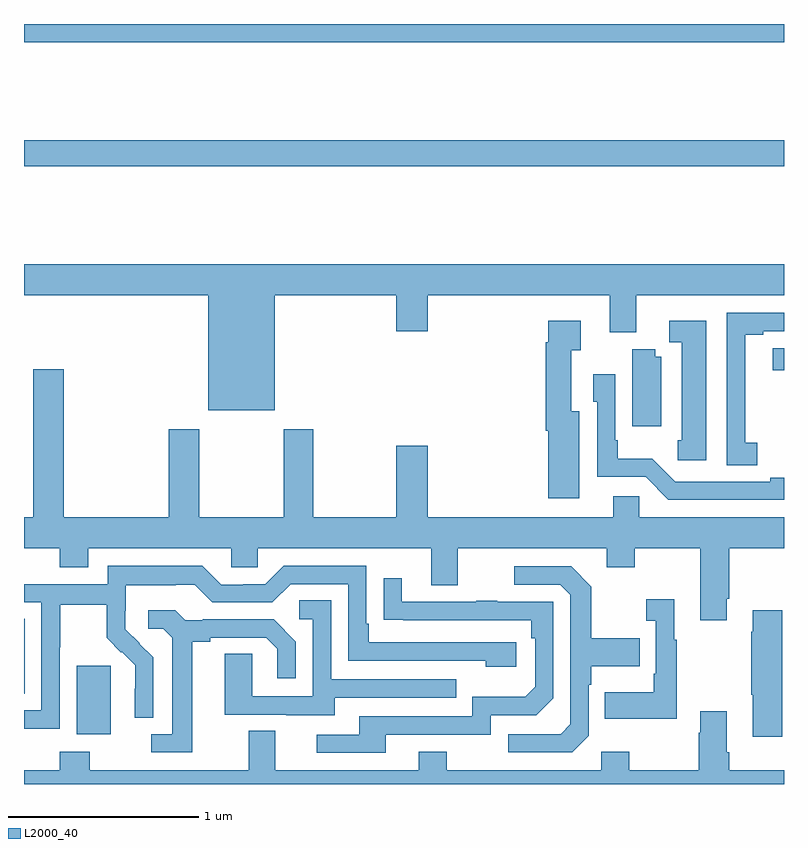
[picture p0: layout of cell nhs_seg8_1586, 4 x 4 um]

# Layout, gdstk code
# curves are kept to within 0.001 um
import gdstk
lib = gdstk.Library(unit=1e-6, precision=1e-09)
def R(c, l, rs):  # rectangles x0, y0, x1, y1
    for r in rs: c.add(gdstk.rectangle(r[:2], r[2:], *l))
def P(c, l, *ps):  # polygons
    for p in ps: c.add(gdstk.Polygon(p, *l))
L2000_40 = (2000, 40)

nhs_seg8_1586 = lib.new_cell('nhs_seg8_1586')
R(nhs_seg8_1586, L2000_40, [(211.277,1142.162,211.456,1142.523), (211,1142.374,211.003,1142.771), (214.941,1144.078,215,1144.193), (211,1145.152,215,1145.288), (211,1145.804,215,1145.9)])
P(nhs_seg8_1586, L2000_40, [(211,1144.472),(211.97,1144.472),(211.97,1143.866),(212.32,1143.866),(212.32,1144.472),(212.96,1144.472),(212.96,1144.284),(213.124,1144.284),(213.124,1144.472),(214.082,1144.472),(214.082,1144.278),(214.222,1144.278),(214.222,1144.472),(215,1144.472),(215,1144.636),(211,1144.636)],
  [(214.858,1143.697),(214.797,1143.697),(214.797,1144.001),(214.795,1144.001),(214.795,1144.264),(214.891,1144.264),(214.891,1144.284),(215,1144.284),(215,1144.38),(214.698,1144.38),(214.698,1143.577),(214.858,1143.577)],
  [(214.591,1144.339),(214.395,1144.339),(214.395,1144.224),(214.463,1144.224),(214.463,1143.708),(214.441,1143.708),(214.441,1143.603),(214.591,1143.603)],
  [(213.922,1143.862),(213.88,1143.862),(213.88,1144.183),(213.931,1144.183),(213.931,1144.339),(213.758,1144.339),(213.758,1144.226),(213.746,1144.226),(213.746,1143.758),(213.758,1143.758),(213.758,1143.405),(213.922,1143.405)],
  [(214.354,1144.15),(214.322,1144.15),(214.322,1144.187),(214.202,1144.187),(214.202,1143.783),(214.354,1143.783)],
  [(214.699,1142.875),(214.712,1142.875),(214.712,1143.14),(215,1143.14),(215,1143.304),(214.239,1143.304),(214.239,1143.414),(214.1,1143.414),(214.1,1143.304),(213.124,1143.304),(213.124,1143.679),(212.96,1143.679),(212.96,1143.304),(212.523,1143.304),(212.523,1143.766),(212.368,1143.766),(212.368,1143.304),(211.923,1143.304),(211.923,1143.766),(211.763,1143.766),(211.763,1143.304),(211.208,1143.304),(211.208,1144.084),(211.048,1144.084),(211.048,1143.304),(211,1143.304),(211,1143.14),(211.187,1143.14),(211.187,1143.041),(211.339,1143.041),(211.339,1143.14),(212.091,1143.14),(212.091,1143.042),(212.229,1143.042),(212.229,1143.14),(213.143,1143.14),(213.143,1142.946),(213.283,1142.946),(213.283,1143.14),(214.067,1143.14),(214.067,1143.041),(214.215,1143.041),(214.215,1143.14),(214.559,1143.14),(214.559,1142.763),(214.699,1142.763)],
  [(215,1143.512),(214.928,1143.512),(214.928,1143.492),(214.428,1143.492),(214.307,1143.613),(214.126,1143.613),(214.126,1143.709),(214.113,1143.709),(214.113,1144.057),(213.996,1144.057),(213.996,1143.912),(214.017,1143.912),(214.017,1143.516),(214.272,1143.516),(214.392,1143.396),(215,1143.396)],
  [(211.188,1142.62),(211.191,1142.62),(211.191,1142.844),(211.435,1142.844),(211.435,1142.669),(211.512,1142.592),(211.515,1142.595),(211.586,1142.525),(211.586,1142.402),(211.584,1142.402),(211.584,1142.248),(211.68,1142.248),(211.68,1142.566),(211.534,1142.714),(211.534,1142.811),(211.536,1142.811),(211.536,1142.945),(211.799,1142.945),(211.799,1142.949),(211.899,1142.949),(211.992,1142.856),(212.307,1142.856),(212.403,1142.952),(212.706,1142.952),(212.706,1142.55),(213.431,1142.55),(213.431,1142.516),(213.592,1142.516),(213.592,1142.646),(212.815,1142.646),(212.815,1142.743),(212.802,1142.743),(212.802,1143.048),(212.367,1143.048),(212.271,1142.952),(212.153,1142.952),(212.153,1142.949),(212.037,1142.949),(211.937,1143.049),(211.44,1143.049),(211.44,1142.952),(211,1142.952),(211,1142.856),(211.092,1142.856),(211.092,1142.289),(211,1142.289),(211,1142.191),(211.188,1142.191)],
  [(213.972,1142.154),(213.972,1142.423),(213.985,1142.423),(213.985,1142.519),(214.241,1142.519),(214.241,1142.667),(213.985,1142.667),(213.985,1142.939),(213.879,1143.045),(213.579,1143.045),(213.579,1142.949),(213.822,1142.949),(213.876,1142.895),(213.876,1142.214),(213.825,1142.163),(213.549,1142.163),(213.549,1142.067),(213.885,1142.067)],
  [(212.905,1142.16),(213.456,1142.16),(213.456,1142.262),(213.696,1142.262),(213.786,1142.352),(213.786,1142.859),(213.491,1142.859),(213.491,1142.864),(213.379,1142.864),(213.379,1142.859),(212.989,1142.859),(212.989,1142.983),(212.893,1142.983),(212.893,1142.764),(213.67,1142.763),(213.67,1142.666),(213.69,1142.666),(213.69,1142.412),(213.637,1142.359),(213.36,1142.359),(213.36,1142.256),(212.765,1142.256),(212.765,1142.16),(212.541,1142.16),(212.541,1142.064),(212.905,1142.064)],
  [(214.435,1142.659),(214.423,1142.659),(214.423,1142.872),(214.275,1142.872),(214.275,1142.759),(214.326,1142.759),(214.326,1142.479),(214.314,1142.479),(214.314,1142.383),(214.057,1142.383),(214.057,1142.243),(214.435,1142.243)],
  [(212.635,1142.355),(213.275,1142.355),(213.275,1142.451),(212.616,1142.451),(212.616,1142.867),(212.448,1142.867),(212.448,1142.766),(212.52,1142.766),(212.52,1142.361),(212.202,1142.361),(212.202,1142.585),(212.057,1142.585),(212.057,1142.265),(212.381,1142.265),(212.381,1142.261),(212.635,1142.261)],
  [(211.885,1142.648),(211.981,1142.648),(211.981,1142.67),(212.276,1142.67),(212.333,1142.613),(212.333,1142.457),(212.43,1142.457),(212.43,1142.65),(212.314,1142.766),(211.942,1142.766),(211.942,1142.763),(211.848,1142.763),(211.796,1142.815),(211.653,1142.815),(211.653,1142.718),(211.734,1142.718),(211.781,1142.671),(211.781,1142.163),(211.671,1142.163),(211.671,1142.067),(211.885,1142.067)],
  [(214.99,1142.815),(214.835,1142.815),(214.835,1142.702),(214.828,1142.702),(214.828,1142.371),(214.835,1142.371),(214.835,1142.148),(214.99,1142.148)],
  [(215,1141.972),(214.712,1141.972),(214.712,1142.068),(214.699,1142.068),(214.699,1142.284),(214.559,1142.284),(214.559,1142.171),(214.552,1142.171),(214.552,1141.972),(214.185,1141.972),(214.185,1142.071),(214.038,1142.071),(214.038,1141.972),(213.225,1141.972),(213.225,1142.071),(213.077,1142.071),(213.077,1141.972),(212.323,1141.972),(212.323,1142.18),(212.183,1142.18),(212.183,1141.972),(211.347,1141.972),(211.347,1142.071),(211.187,1142.071),(211.187,1141.972),(211,1141.972),(211,1141.9),(215,1141.9)])

lib.write_gds('nhs_seg8_1586.gds')
